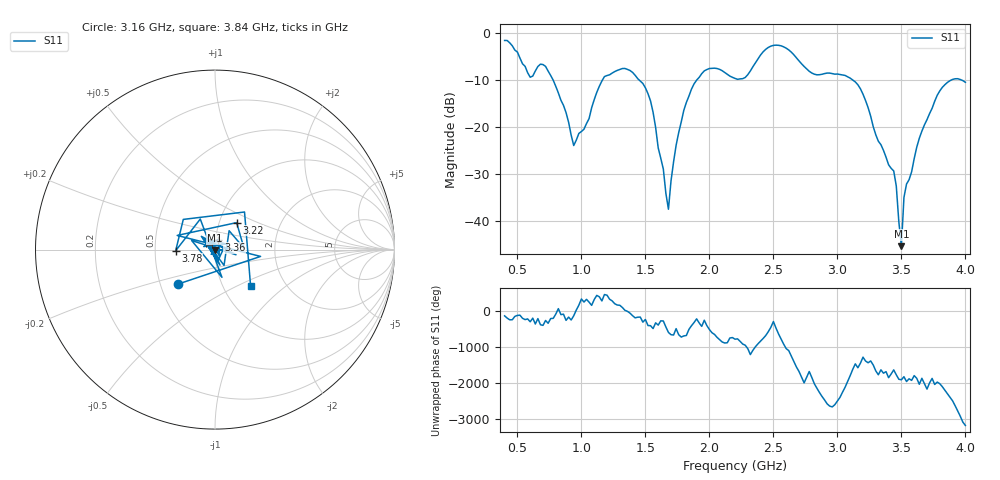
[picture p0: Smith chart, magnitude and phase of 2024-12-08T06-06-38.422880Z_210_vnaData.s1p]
!Created with skrf (http://scikit-rf.org).
# Hz S RI R 50.0
!freq ReS11 ImS11
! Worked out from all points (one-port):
!   181 points, 400 MHz to 4 GHz, reference 50 ohm
!   lowest |S11| = -45.3 dB at 3.5 GHz (marker M1), VSWR 1.01, Z = 49.8 - j0.495 ohm
!   |S11| at or under -10 dB: 780.1 MHz to 1.163 GHz (382.8 MHz wide, 39.4 % of centre); 1.454 GHz to 1.899 GHz (445.1 MHz wide, 26.5 % of centre); 3.123 GHz to 3.885 GHz (762.2 MHz wide, 21.7 % of centre) (the widest 3 of 4)
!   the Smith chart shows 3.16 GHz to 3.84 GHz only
!   S11 on the Smith chart (normalised r, x): 3.16 GHz: 0.61, -0.26; 3.22 GHz: 1.21, +0.38; 3.36 GHz: 1.03, +0.11; 3.78 GHz: 0.64, -0.01; 3.84 GHz: 1.34, -0.59
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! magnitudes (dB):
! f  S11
! 400 MHz  -1.5
! 600 MHz  -9.3
! 720 MHz  -7.0
! 860 MHz  -15.3
! 940 MHz  -23.9
! 1.18 GHz  -9.2
! 1.3 GHz  -7.7
! 1.54 GHz  -14.4
! 1.68 GHz  -37.5
! 1.76 GHz  -21.1
! 1.86 GHz  -11.9
! 1.96 GHz  -8.0
! 2.2 GHz  -9.6
! 2.48 GHz  -2.7
! 2.66 GHz  -4.6
! 2.82 GHz  -8.7
! 3.1 GHz  -9.5
! 3.16 GHz  -10.9
! 3.22 GHz  -14.3
! 3.36 GHz  -24.9
! 3.44 GHz  -29.3
! 3.5 GHz  -45.3
! 3.52 GHz  -34.9
! 3.56 GHz  -31.2
! 3.64 GHz  -22.3
! 3.78 GHz  -13.2
! 3.84 GHz  -10.9
! 4 GHz  -10.4
